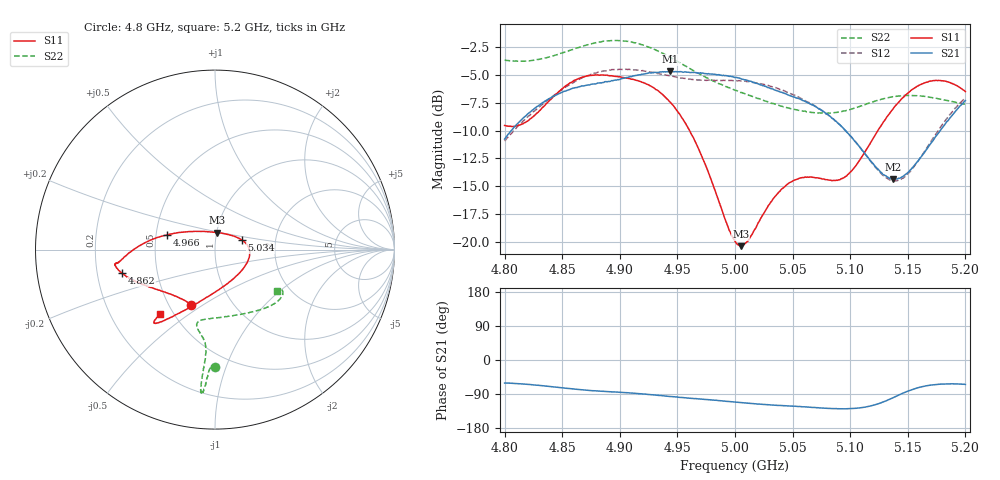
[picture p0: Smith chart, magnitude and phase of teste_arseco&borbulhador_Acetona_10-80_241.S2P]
! Network Analyzer HP8722D
! Hewlett-Packard
! Data name: Linha & Wilkinson
! Saver's name: Rodrigo Anjos
! Comments: Teste da utilização de aquisição
! continua pelo VNA HP8722D
! Time and date: 17/4/2025 16:22
!  Frequency  S11  S21  S12  S22
# HZ  S  MA R 50
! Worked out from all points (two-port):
!   401 points, 4.8 GHz to 5.2 GHz, reference 50 ohm
!   highest |S21| = -4.67 dB at 4.944 GHz (marker M1); lowest = -14.4 dB at 5.137 GHz (marker M2)
!   |S21| within 3 dB of the highest: 4.831 GHz to 5.067 GHz (236 MHz wide, 4.77 % of centre); 5.196524 GHz to end of sweep
!   lowest |S11| = -20.4 dB at 5.005 GHz (marker M3), VSWR 1.21, Z = 50.2 + j9.61 ohm
!   |S11| at or under -10 dB: 4.961 GHz to 5.124 GHz (163.5 MHz wide, 3.24 % of centre)
!   |S22| runs from -8.5 to -1.9 dB; largest |S21 - S12| = 0.88
!   S11 on the Smith chart (normalised r, x): 4.8 GHz: 0.65, -0.44; 4.862 GHz: 0.31, -0.11; 4.966 GHz: 0.57, +0.10; 5.034 GHz: 1.34, +0.15; 5.2 GHz: 0.42, -0.39
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4.8e9  0.3334 -113.4  0.2896 -60.8  0.2838 -175.0  0.656 -90.1
4.819e9  0.3469 -133.3  0.3707 -64.1  0.3594 -173.6  0.6507 -91.6
4.862e9  0.5351 -165.8  0.4939 -77.2  0.5291 -176.8  0.7422 -93.8
4.867e9  0.5485 -167.8  0.5025 -78.7  0.5446 -177.9  0.756 -94.1
4.9e9  0.5524 -172.2  0.5371 -85.1  0.5967 175.6  0.8032 -95.4
4.934e9  0.474 -178.2  0.5784 -93.7  0.5716 171.8  0.716 -95.8
4.944e9  0.4234 177.3  0.5839 -96.4  0.5558 171.8  0.6745 -95.5
4.966e9  0.2784 162.7  0.5757 -101.8  0.5352 173.9  0.5803 -95.1
5e9  0.1006 100.9  0.5478 -111.2  0.5317 176.2  0.4801 -99.2
5.005e9  0.09546 83.4  0.5415 -112.5  0.5285 176.2  0.4691 -100.4
5.013e9  0.1045 57.4  0.5274 -114.5  0.5238 175.8  0.4547 -102.0
5.034e9  0.158 20.3  0.4825 -119.1  0.4952 174.8  0.417 -103.4
5.049e9  0.186 5.0  0.4517 -121.6  0.4623 174.2  0.3964 -100.0
5.067e9  0.1949 -14.2  0.4124 -125.2  0.4155 173.8  0.3816 -90.5
5.087e9  0.1885 -46.4  0.3499 -128.3  0.3494 173.7  0.3811 -75.4
5.097e9  0.1978 -66.8  0.3114 -128.7  0.3116 174.6  0.3898 -67.2
5.134e9  0.3765 -116.6  0.1929 -104.1  0.1901 -156.9  0.4458 -43.0
5.137e9  0.3941 -118.4  0.1909 -99.9  0.1882 -152.1  0.4491 -41.7
5.15e9  0.4661 -124.3  0.2043 -82.3  0.2018 -131.9  0.4547 -36.7
5.17e9  0.528 -128.9  0.2766 -66.2  0.282 -112.3  0.4459 -32.0
5.184e9  0.5247 -130.2  0.3475 -63.0  0.3593 -107.2  0.4323 -31.0
5.2e9  0.4736 -130.6  0.4313 -64.5  0.4439 -106.5  0.4148 -33.3
